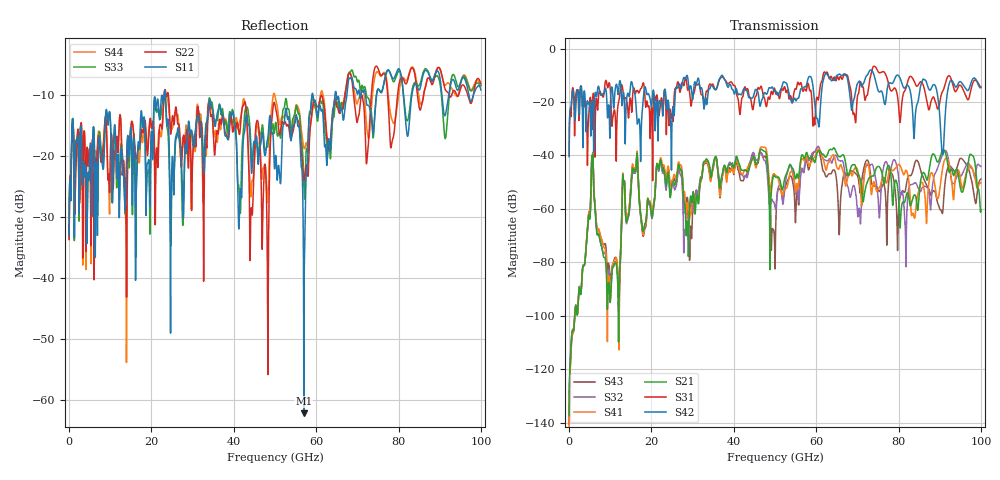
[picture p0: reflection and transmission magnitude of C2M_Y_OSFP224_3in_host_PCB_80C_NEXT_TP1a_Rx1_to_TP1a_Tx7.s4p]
# GHz S RI R 45
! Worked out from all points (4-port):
!   4000 points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, 25 MHz to 100 GHz, reference 45 ohm
!   strongest paths, dB at 25 MHz, 25.02 GHz, 50.02 GHz, 75.03 GHz, 100 GHz:
!     S42: -40.5, -26.4, -15.9, -15.6, -14.6
!     S31: -39.9, -24.5, -15.4, -8.5, -14.2
!     S21: -137.4, -50.4, -47.9, -44.1, -60.2
!     S41: -142.2, -49.3, -47.2, -52.7, -50.3
!     S32: -136.4, -51.2, -59.5, -55.7, -44.1
!     S43: -140.5, -50.3, -82.5, -52.5, -48.9
!   lowest |S11| = -62.1 dB at 57 GHz (marker M1), VSWR 1.00, Z = 45 + j0.0687 ohm
!   |S11| at or under -10 dB: start of sweep to 22.52 GHz; 23.45 GHz to 58.97 GHz (35.51 GHz wide, 86.2 % of centre); 59.25 GHz to 64.56 GHz (5.311 GHz wide, 8.58 % of centre) (the widest 3 of 10)
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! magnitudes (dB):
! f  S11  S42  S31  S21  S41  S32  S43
! 25 MHz  -33.0  -40.5  -39.9  -137.4  -142.2  -136.4  -140.5
! 5.75 GHz  -17.5  -20.0  -18.4  -39.9  -39.7  -39.6  -39.4
! 11.93 GHz  -20.0  -17.2  -20.9  -92.6  -86.4  -91.7  -86.1
! 16.18 GHz  -39.8  -19.5  -16.6  -45.8  -44.9  -46.4  -45.5
! 49.6 GHz  -17.1  -15.2  -16.3  -47.9  -46.9  -57.3  -67.7
! 57 GHz  -62.1  -14.5  -15.5  -40.8  -41.7  -46.5  -45.5
! 100 GHz  -9.1  -14.6  -14.2  -60.2  -50.3  -44.1  -48.9
